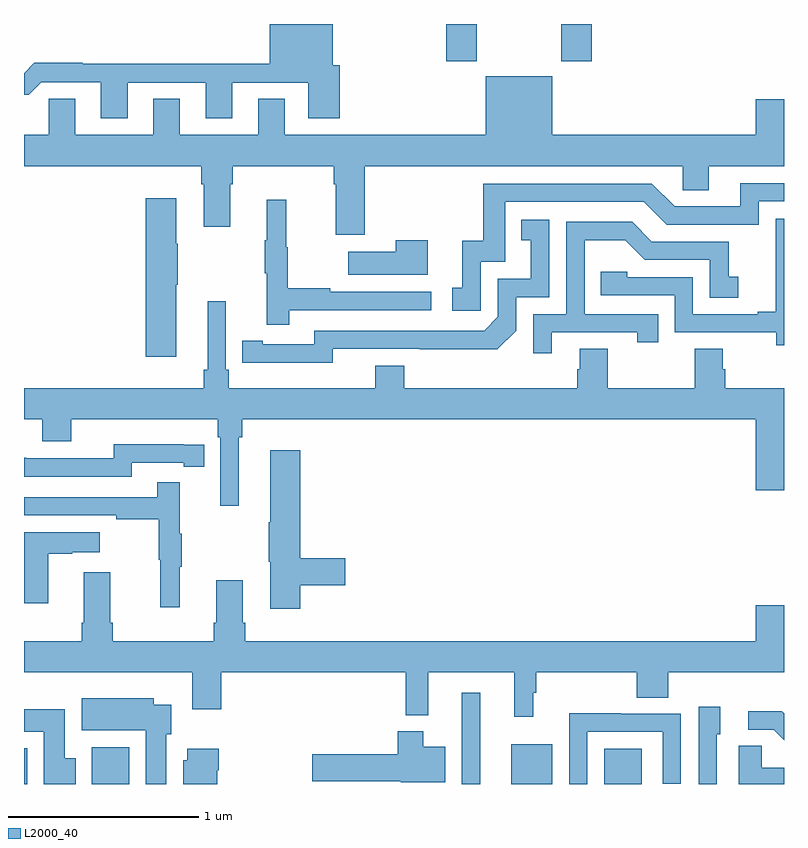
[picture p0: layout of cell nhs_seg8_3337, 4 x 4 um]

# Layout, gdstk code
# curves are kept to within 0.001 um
import gdstk
lib = gdstk.Library(unit=1e-6, precision=1e-09)
def R(c, l, rs):  # rectangles x0, y0, x1, y1
    for r in rs: c.add(gdstk.rectangle(r[:2], r[2:], *l))
def P(c, l, *ps):  # polygons
    for p in ps: c.add(gdstk.Polygon(p, *l))
L2000_40 = (2000, 40)

nhs_seg8_3337 = lib.new_cell('nhs_seg8_3337')
R(nhs_seg8_3337, L2000_40, [(317,1127.9,317.017,1128.088), (317.357,1127.9,317.553,1128.094), (319.305,1127.9,319.402,1128.379), (319.565,1127.9,319.78,1128.109), (320.054,1127.9,320.251,1128.085), (319.223,1131.705,319.383,1131.9), (319.828,1131.705,319.988,1131.9)])
P(nhs_seg8_3337, L2000_40, [(317.545,1131.591),(317.957,1131.591),(317.957,1131.405),(318.097,1131.405),(318.097,1131.591),(318.497,1131.591),(318.497,1131.405),(318.662,1131.405),(318.662,1131.684),(318.625,1131.684),(318.625,1131.9),(318.293,1131.9),(318.293,1131.692),(317.309,1131.692),(317.309,1131.695),(317.054,1131.695),(317,1131.641),(317,1131.527),(317.024,1131.527),(317.091,1131.594),(317.405,1131.594),(317.405,1131.405),(317.545,1131.405)],
  [(317.821,1131.506),(317.681,1131.506),(317.681,1131.316),(317.269,1131.316),(317.269,1131.506),(317.13,1131.506),(317.13,1131.316),(317,1131.316),(317,1131.152),(317.933,1131.152),(317.933,1131.056),(317.945,1131.056),(317.945,1130.832),(318.085,1130.832),(318.085,1131.056),(318.098,1131.056),(318.098,1131.152),(318.629,1131.152),(318.629,1131.056),(318.641,1131.056),(318.641,1130.79),(318.794,1130.79),(318.794,1131.152),(320.466,1131.152),(320.466,1131.025),(320.605,1131.025),(320.605,1131.152),(321,1131.152),(321,1131.505),(320.852,1131.505),(320.852,1131.316),(319.78,1131.316),(319.78,1131.625),(319.43,1131.625),(319.43,1131.316),(318.373,1131.316),(318.373,1131.506),(318.233,1131.506),(318.233,1131.316),(317.821,1131.316)],
  [(319.404,1130.649),(319.533,1130.649),(319.533,1130.964),(320.262,1130.964),(320.382,1130.844),(320.868,1130.844),(320.868,1130.967),(321,1130.967),(321,1131.063),(320.771,1131.063),(320.771,1130.94),(320.424,1130.94),(320.304,1131.06),(319.417,1131.06),(319.417,1130.758),(319.307,1130.758),(319.307,1130.511),(319.254,1130.511),(319.254,1130.391),(319.404,1130.391)],
  [(317.8,1130.527),(317.808,1130.527),(317.808,1130.744),(317.8,1130.744),(317.8,1130.983),(317.642,1130.983),(317.642,1130.148),(317.8,1130.148)],
  [(318.395,1130.394),(319.144,1130.394),(319.144,1130.49),(318.611,1130.49),(318.611,1130.51),(318.388,1130.51),(318.388,1130.724),(318.38,1130.724),(318.38,1130.974),(318.278,1130.974),(318.278,1130.761),(318.267,1130.761),(318.267,1130.587),(318.278,1130.587),(318.278,1130.316),(318.395,1130.316)],
  [(321,1130.875),(320.956,1130.875),(320.956,1130.669),(320.957,1130.669),(320.957,1130.386),(320.861,1130.386),(320.861,1130.373),(320.52,1130.373),(320.52,1130.568),(320.175,1130.568),(320.175,1130.595),(320.035,1130.595),(320.035,1130.472),(320.424,1130.472),(320.424,1130.277),(320.958,1130.277),(320.958,1130.209),(321,1130.209)],
  [(318.624,1130.19),(319.492,1130.189),(319.59,1130.286),(319.59,1130.463),(319.764,1130.463),(319.764,1130.869),(319.618,1130.869),(319.618,1130.763),(319.667,1130.763),(319.667,1130.559),(319.494,1130.559),(319.494,1130.358),(319.422,1130.286),(318.528,1130.286),(318.528,1130.214),(318.256,1130.214),(318.256,1130.234),(318.148,1130.234),(318.148,1130.118),(318.624,1130.117)],
  [(319.777,1130.277),(320.228,1130.277),(320.228,1130.226),(320.339,1130.226),(320.339,1130.373),(319.95,1130.373),(319.95,1130.762),(320.164,1130.762),(320.268,1130.658),(320.61,1130.658),(320.61,1130.46),(320.758,1130.46),(320.758,1130.569),(320.709,1130.569),(320.709,1130.754),(320.305,1130.754),(320.2,1130.859),(319.854,1130.859),(319.854,1130.373),(319.68,1130.373),(319.68,1130.166),(319.777,1130.166)],
  [(319.126,1130.761),(318.956,1130.761),(318.956,1130.701),(318.707,1130.701),(318.707,1130.579),(319.126,1130.579)],
  [(318.13,1129.724),(318.149,1129.724),(318.149,1129.82),(320.852,1129.82),(320.852,1129.446),(321,1129.446),(321,1129.984),(320.69,1129.984),(320.69,1130.082),(320.677,1130.082),(320.677,1130.192),(320.53,1130.192),(320.53,1129.984),(320.073,1129.984),(320.073,1130.192),(319.925,1130.192),(319.925,1130.082),(319.913,1130.082),(319.913,1129.984),(319.001,1129.984),(319.001,1130.101),(318.848,1130.101),(318.848,1129.984),(318.077,1129.984),(318.077,1130.08),(318.063,1130.08),(318.063,1130.44),(317.966,1130.44),(317.966,1130.08),(317.947,1130.08),(317.947,1129.984),(317,1129.984),(317,1129.82),(317.096,1129.82),(317.096,1129.703),(317.248,1129.703),(317.248,1129.82),(318.02,1129.82),(318.02,1129.724),(318.033,1129.724),(318.033,1129.365),(318.13,1129.365)],
  [(317.568,1129.59),(317.84,1129.59),(317.84,1129.57),(317.948,1129.57),(317.948,1129.686),(317.84,1129.686),(317.84,1129.687),(317.472,1129.687),(317.472,1129.614),(317.012,1129.614),(317.012,1129.616),(317,1129.616),(317,1129.518),(317.568,1129.518)],
  [(318.455,1128.946),(318.691,1128.946),(318.691,1129.088),(318.455,1129.088),(318.455,1129.657),(318.296,1129.657),(318.296,1129.277),(318.289,1129.277),(318.289,1129.071),(318.296,1129.071),(318.296,1128.822),(318.455,1128.822)],
  [(317.819,1129.043),(317.83,1129.043),(317.83,1129.217),(317.819,1129.217),(317.819,1129.489),(317.701,1129.489),(317.701,1129.41),(317,1129.41),(317,1129.314),(317.485,1129.314),(317.485,1129.294),(317.709,1129.294),(317.709,1129.08),(317.716,1129.08),(317.716,1128.831),(317.819,1128.831)],
  [(317.128,1129.111),(317.255,1129.111),(317.255,1129.121),(317.398,1129.121),(317.398,1129.225),(317,1129.225),(317,1128.852),(317.128,1128.852)],
  [(318.151,1128.748),(318.151,1128.973),(318.011,1128.973),(318.011,1128.748),(317.999,1128.748),(317.999,1128.652),(317.468,1128.652),(317.468,1128.748),(317.455,1128.748),(317.455,1129.015),(317.315,1129.015),(317.315,1128.748),(317.303,1128.748),(317.303,1128.652),(317,1128.652),(317,1128.488),(317.885,1128.488),(317.885,1128.294),(318.038,1128.294),(318.038,1128.488),(319.009,1128.488),(319.009,1128.263),(319.127,1128.263),(319.127,1128.488),(319.58,1128.488),(319.58,1128.255),(319.679,1128.255),(319.679,1128.38),(319.697,1128.38),(319.697,1128.488),(320.225,1128.488),(320.225,1128.355),(320.39,1128.355),(320.39,1128.488),(321,1128.488),(321,1128.841),(320.852,1128.841),(320.852,1128.652),(318.164,1128.652),(318.164,1128.748)],
  [(317.749,1128.162),(317.776,1128.162),(317.776,1128.316),(317.683,1128.316),(317.683,1128.352),(317.303,1128.352),(317.303,1128.182),(317.642,1128.182),(317.642,1127.9),(317.749,1127.9)],
  [(320.646,1128.162),(320.665,1128.162),(320.665,1128.307),(320.55,1128.307),(320.55,1127.9),(320.646,1127.9)],
  [(317.272,1128.036),(317.215,1128.036),(317.215,1128.294),(317,1128.294),(317,1128.176),(317.105,1128.176),(317.105,1127.9),(317.272,1127.9)],
  [(321,1128.273),(320.989,1128.284),(320.811,1128.284),(320.811,1128.186),(320.945,1128.186),(321,1128.131)],
  [(319.965,1128.174),(320.361,1128.174),(320.361,1127.901),(320.457,1127.901),(320.457,1128.27),(320.141,1128.27),(320.141,1128.272),(319.869,1128.272),(319.869,1127.9),(319.965,1127.9)],
  [(319.216,1128.097),(319.102,1128.097),(319.102,1128.178),(318.968,1128.178),(318.968,1128.057),(318.516,1128.057),(318.516,1127.915),(318.984,1127.915),(318.984,1127.909),(319.216,1127.909)],
  [(321,1127.986),(320.883,1127.986),(320.883,1128.101),(320.762,1128.101),(320.762,1127.9),(321,1127.9)],
  [(318.016,1127.972),(318.024,1127.972),(318.024,1128.085),(317.858,1128.085),(317.858,1128.024),(317.837,1128.024),(317.837,1127.9),(318.016,1127.9)])

lib.write_gds('nhs_seg8_3337.gds')
